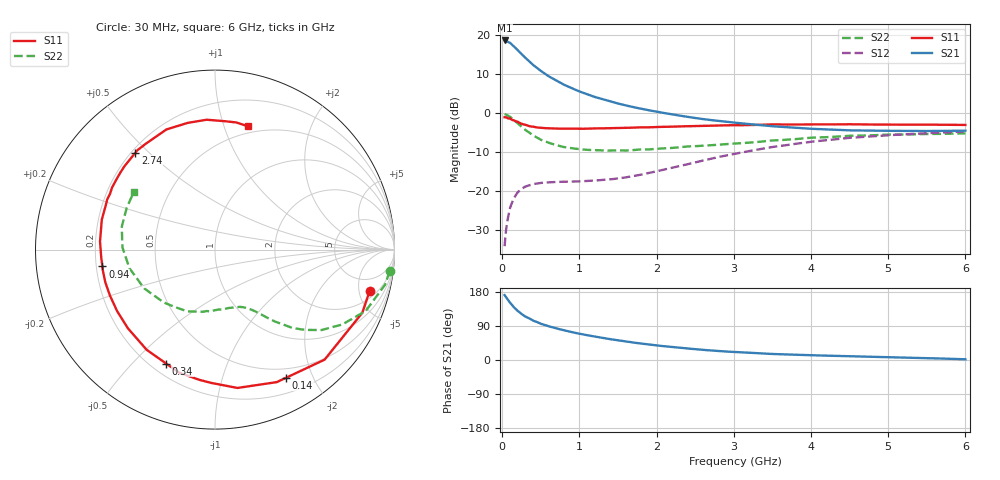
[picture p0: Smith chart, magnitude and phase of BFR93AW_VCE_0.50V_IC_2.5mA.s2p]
! Infineon Technologies  Discrete & RF Semiconductors
! BFR93AW
! VCE = 0.50 V,  IC =  2.5 mA
! Common Emitter S-Parameters:  Nov 2015
# GHz  S  MA  R  50
!  f  S11  S21  S12  S22
! GHz  MAG  ANG  MAG  ANG  MAG  ANG  MAG  ANG
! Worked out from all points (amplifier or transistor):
!   206 points, 30 MHz to 6 GHz, reference 50 ohm
!   highest |S21| = 18.7 dB at 30 MHz (marker M1)
!   |S21| within 3 dB of that: start of sweep to 226.2 MHz
!   unconditionally stable (mu >= 1): 1.088 GHz to 2.997 GHz; 4.675 GHz to end of sweep
!   at 200 MHz: K = 0.20, MSG = 18.2 dB, |S12| = -20.2 dB
!   at 1.56 GHz: K = 1.20, MAG = 6.7 dB, |S12| = -16.5 dB
!   at 6 GHz: K = 1.03, MAG = -0.9 dB, |S12| = -4.6 dB
!   S11 on the Smith chart (normalised r, x): 30 MHz: 2.82, -6.37; 140 MHz: 0.38, -1.64; 340 MHz: 0.26, -0.63; 940 MHz: 0.22, -0.07; 2.74 GHz: 0.22, +0.45; 6 GHz: 0.43, +1.21
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0.03  0.8919 -15.0  8.59 171.2  0.0199 81.2  0.9805 -7.1
0.05  0.8931 -23.2  8.529 165.0  0.0328 77.2  0.9673 -11.7
0.1  0.8654 -45.1  8.026 151.3  0.0613 65.7  0.9066 -22.2
0.14  0.8166 -60.9  7.368 141.7  0.0777 57.6  0.8377 -28.7
0.15  0.8146 -65.0  7.239 139.1  0.082 56.1  0.8224 -30.5
0.2  0.7809 -80.8  6.479 129.4  0.0976 48.9  0.7445 -37.0
0.24  0.7428 -91.7  5.884 123.0  0.1058 44.2  0.6851 -40.8
0.3  0.7143 -106.2  5.141 114.5  0.1156 38.9  0.6129 -45.4
0.34  0.6906 -113.2  4.733 110.8  0.1189 36.5  0.5759 -47.1
0.4  0.6758 -124.3  4.167 103.9  0.1241 33.1  0.5217 -50.2
0.5  0.654 -137.8  3.495 95.6  0.1288 29.8  0.4591 -53.7
0.6  0.6443 -147.7  2.99 89.0  0.1309 28.3  0.4199 -56.1
0.78  0.6372 -162.1  2.385 79.2  0.1331 27.9  0.3742 -61.1
0.94  0.6346 -171.5  2.02 72.0  0.1341 29.1  0.3535 -65.0
1.04  0.6354 -176.8  1.846 67.8  0.1351 30.3  0.3447 -68.1
1.5  0.6525 165.1  1.337 51.8  0.147 40.0  0.3364 -83.2
2.02  0.67 148.4  1.041 37.9  0.183 49.8  0.3534 -101.6
2.74  0.6986 129.5  0.813 24.6  0.2676 53.5  0.3927 -126.4
3.1  0.7059 120.9  0.745 20.1  0.3153 51.4  0.415 -137.9
4.1  0.7215 100.4  0.629 12.0  0.4428 39.9  0.4911 -170.6
5.1  0.7174 85.5  0.597 7.0  0.5317 26.5  0.5349 163.9
6  0.711 75.0  0.6 1.9  0.5867 15.8  0.5548 144.5
